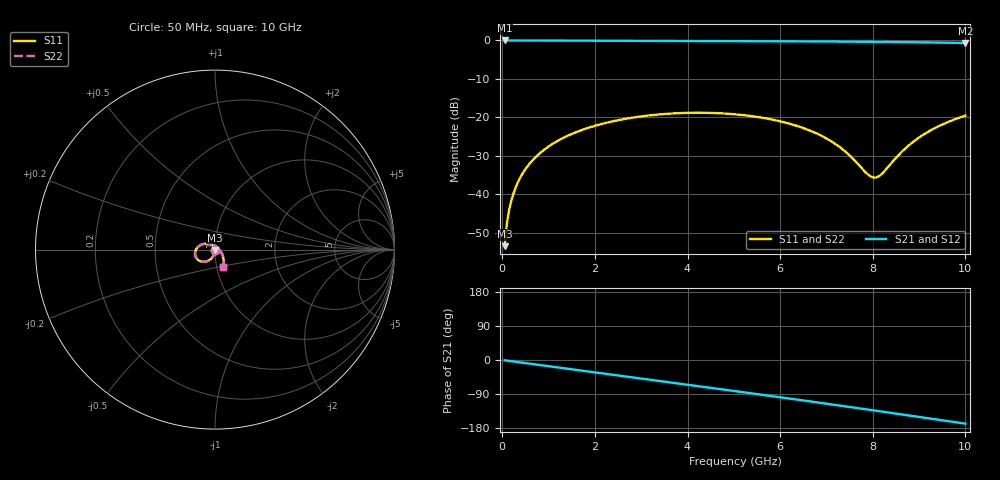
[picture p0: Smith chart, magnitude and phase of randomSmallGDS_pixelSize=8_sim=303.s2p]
! freq	dB(S11)	phase(S11)	dB(S12)	phase(S12)
!  dB(S21)	phase(S21)	dB(S22)	phase(S22)
!S-par simulation data
#  GHz  S  DB  R 50
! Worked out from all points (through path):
!   200 points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, 50 MHz to 10 GHz, reference 50 ohm
!   highest |S21| = 0.00 dB at 50 MHz (marker M1); lowest = -0.7 dB at 10 GHz (marker M2)
!   group delay of S21, straight-line fit = 46.4 ps
!   lowest |S11| = -53.5 dB at 50 MHz (marker M3), VSWR 1.00, Z = 50 - j0.212 ohm
!   |S11| at or under -10 dB: start of sweep to end of sweep
!   |S22| runs from -53.5 to -18.8 dB; largest |S21 - S12| = 0
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0.05  -53.46 -90.4  -0.00 -0.8  -0.00 -0.8  -53.46 -90.4
0.1  -47.43 -91.6  -0.00 -1.7  -0.00 -1.7  -47.43 -91.6
0.15  -43.91 -92.6  -0.00 -2.5  -0.00 -2.5  -43.91 -92.6
0.2  -41.40 -93.6  -0.00 -3.3  -0.00 -3.3  -41.40 -93.6
0.35  -36.53 -96.3  -0.01 -5.8  -0.01 -5.8  -36.53 -96.3
0.5  -33.44 -98.9  -0.01 -8.2  -0.01 -8.2  -33.44 -98.9
0.7  -30.55 -102.3  -0.02 -11.5  -0.02 -11.5  -30.55 -102.3
1  -27.56 -107.3  -0.03 -16.4  -0.03 -16.4  -27.56 -107.3
1.75  -23.13 -119.8  -0.05 -28.6  -0.05 -28.6  -23.13 -119.8
2.5  -20.72 -132.2  -0.08 -40.8  -0.08 -40.8  -20.72 -132.2
3.4  -19.21 -147.2  -0.12 -55.4  -0.12 -55.4  -19.21 -147.2
4.25  -18.78 -161.7  -0.15 -69.3  -0.15 -69.3  -18.78 -161.7
5.05  -19.22 -175.9  -0.18 -82.4  -0.18 -82.4  -19.22 -175.9
5.95  -20.87 166.9  -0.21 -97.5  -0.21 -97.5  -20.87 166.8
6.7  -23.71 149.9  -0.25 -110.2  -0.25 -110.2  -23.70 149.7
7.3  -27.83 130.2  -0.29 -120.5  -0.29 -120.5  -27.82 130.0
7.95  -35.31 68.7  -0.34 -131.7  -0.34 -131.7  -35.21 68.4
8.1  -35.49 39.2  -0.36 -134.4  -0.36 -134.4  -35.36 39.2
8.35  -32.60 0.5  -0.39 -138.8  -0.39 -138.8  -32.53 0.9
8.7  -28.08 -25.7  -0.44 -144.9  -0.44 -144.9  -28.05 -25.4
9.05  -24.82 -39.9  -0.49 -151.1  -0.49 -151.1  -24.80 -39.6
10  -19.54 -63.9  -0.66 -168.0  -0.66 -168.0  -19.53 -63.7
